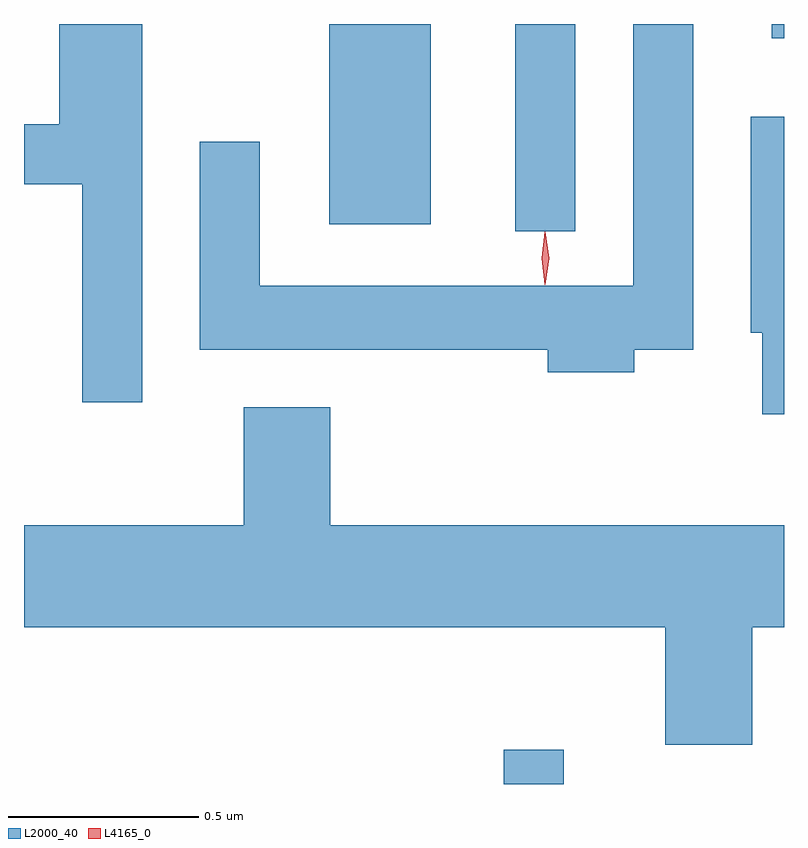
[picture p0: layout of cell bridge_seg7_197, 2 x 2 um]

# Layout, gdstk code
import gdstk
lib = gdstk.Library(unit=1e-6, precision=1e-09)
def R(c, l, rs):  # rectangles x0, y0, x1, y1
    for r in rs: c.add(gdstk.rectangle(r[:2], r[2:], *l))
def P(c, l, *ps):  # polygons
    for p in ps: c.add(gdstk.Polygon(p, *l))
L2000_40 = (2000, 40)
L4165_0 = (4165, 0)

bridge_seg7_197 = lib.new_cell('bridge_seg7_197')
R(bridge_seg7_197, L2000_40, [(1483.346,1711.683,1483.504,1711.773), (1483.376,1713.138,1483.534,1713.683), (1482.886,1713.156,1483.154,1713.683), (1484.051,1713.646,1484.083,1713.683)])
P(bridge_seg7_197, L2000_40, [(1482.394,1713.683),(1482.176,1713.683),(1482.176,1713.419),(1482.083,1713.419),(1482.083,1713.261),(1482.236,1713.261),(1482.236,1712.688),(1482.394,1712.688)],
  [(1483.689,1712.826),(1483.844,1712.826),(1483.844,1713.683),(1483.686,1713.683),(1483.686,1712.994),(1482.704,1712.994),(1482.704,1713.373),(1482.546,1713.373),(1482.546,1712.826),(1483.461,1712.826),(1483.461,1712.766),(1483.689,1712.766)],
  [(1484.083,1713.439),(1483.996,1713.439),(1483.996,1712.871),(1484.026,1712.871),(1484.026,1712.656),(1484.083,1712.656)],
  [(1482.889,1712.674),(1482.661,1712.674),(1482.661,1712.364),(1482.083,1712.364),(1482.083,1712.096),(1483.771,1712.096),(1483.771,1711.786),(1483.999,1711.786),(1483.999,1712.096),(1484.083,1712.096),(1484.083,1712.364),(1482.889,1712.364)])
P(bridge_seg7_197, L4165_0, [(1483.455,1712.999),(1483.454,1713),(1483.445,1713.066),(1483.454,1713.132),(1483.455,1713.133),(1483.455,1713.132),(1483.465,1713.066),(1483.455,1713)],
  [(1483.454,1712.997),(1483.445,1713.066),(1483.454,1713.136),(1483.455,1713.136),(1483.455,1713.136),(1483.465,1713.066),(1483.455,1712.997),(1483.455,1712.997)])

lib.write_gds('bridge_seg7_197.gds')
